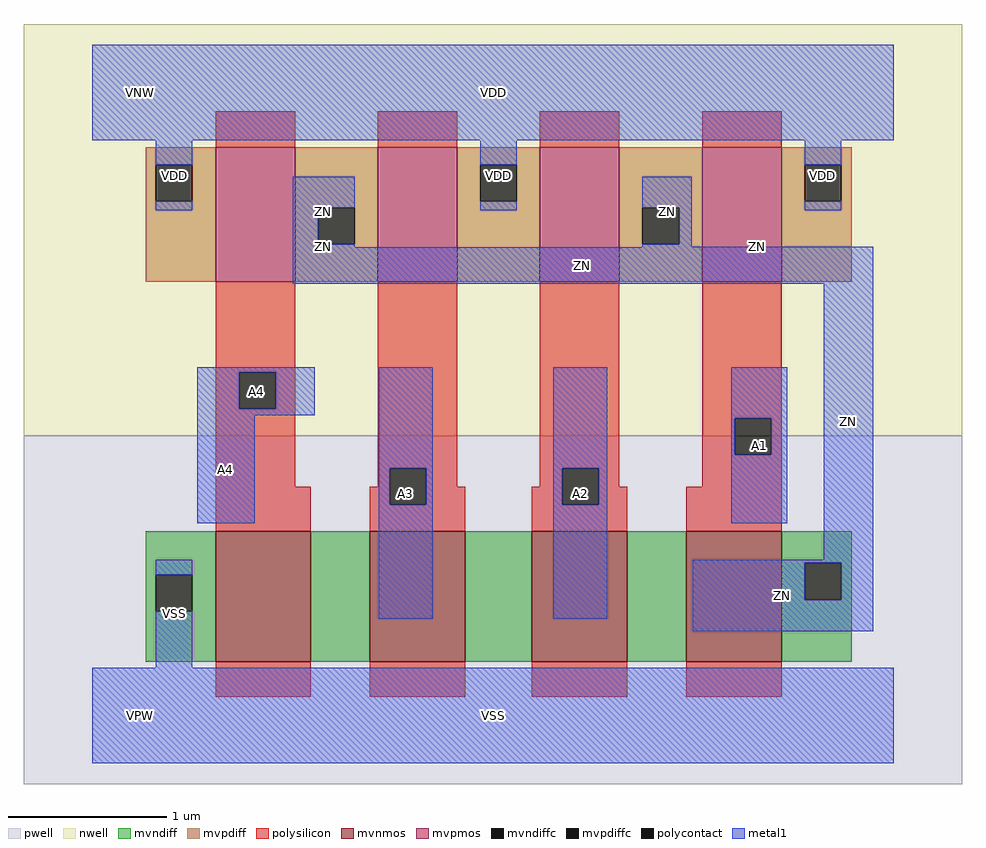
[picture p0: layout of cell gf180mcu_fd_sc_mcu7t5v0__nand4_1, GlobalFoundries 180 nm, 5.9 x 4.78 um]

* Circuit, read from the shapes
.subckt gf180mcu_fd_sc_mcu7t5v0__nand4_1 A1 A2 A3 A4 ZN VDD VNW VPW VSS
XM1 n1 A4 VSS VPW nfet_06v0 w=0.82u l=0.6u
XM2 n2 A3 n1 VPW nfet_06v0 w=0.82u l=0.6u
XM3 n3 A2 n2 VPW nfet_06v0 w=0.82u l=0.6u
XM4 ZN A1 n3 VPW nfet_06v0 w=0.82u l=0.6u
XM5 ZN A4 VDD VNW pfet_06v0 w=0.845u l=0.5u
XM6 VDD A3 ZN VNW pfet_06v0 w=0.845u l=0.5u
XM7 ZN A2 VDD VNW pfet_06v0 w=0.845u l=0.5u
XM8 VDD A1 ZN VNW pfet_06v0 w=0.845u l=0.5u
.ends

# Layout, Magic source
magic
tech gf180mcuD
magscale 1 10
<< nwell >>
rect -86 352 1094 870
<< pwell >>
rect -86 -86 1094 352
<< mvnmos >>
rect 155 68 275 232
rect 349 68 469 232
rect 553 68 673 232
rect 747 68 867 232
<< mvpmos >>
rect 155 546 255 715
rect 359 546 459 715
rect 563 546 663 715
rect 767 546 867 715
<< mvndiff >>
rect 67 177 155 232
rect 67 131 80 177
rect 126 131 155 177
rect 67 68 155 131
rect 275 68 349 232
rect 469 68 553 232
rect 673 68 747 232
rect 867 192 955 232
rect 867 146 896 192
rect 942 146 955 192
rect 867 68 955 146
<< mvpdiff >>
rect 67 693 155 715
rect 67 647 80 693
rect 126 647 155 693
rect 67 546 155 647
rect 255 639 359 715
rect 255 593 284 639
rect 330 593 359 639
rect 255 546 359 593
rect 459 693 563 715
rect 459 647 488 693
rect 534 647 563 693
rect 459 546 563 647
rect 663 639 767 715
rect 663 593 692 639
rect 738 593 767 639
rect 663 546 767 593
rect 867 693 955 715
rect 867 647 896 693
rect 942 647 955 693
rect 867 546 955 647
<< mvndiffc >>
rect 80 131 126 177
rect 896 146 942 192
<< mvpdiffc >>
rect 80 647 126 693
rect 284 593 330 639
rect 488 647 534 693
rect 692 593 738 639
rect 896 647 942 693
<< polysilicon >>
rect 155 715 255 760
rect 359 715 459 760
rect 563 715 663 760
rect 767 715 867 760
rect 155 432 255 546
rect 155 386 185 432
rect 231 386 255 432
rect 155 288 255 386
rect 359 311 459 546
rect 359 288 374 311
rect 155 232 275 288
rect 349 265 374 288
rect 420 288 459 311
rect 563 311 663 546
rect 563 288 591 311
rect 420 265 469 288
rect 349 232 469 265
rect 553 265 591 288
rect 637 288 663 311
rect 767 374 867 546
rect 767 328 808 374
rect 854 328 867 374
rect 767 288 867 328
rect 637 265 673 288
rect 553 232 673 265
rect 747 232 867 288
rect 155 24 275 68
rect 349 24 469 68
rect 553 24 673 68
rect 747 24 867 68
<< polycontact >>
rect 185 386 231 432
rect 374 265 420 311
rect 591 265 637 311
rect 808 328 854 374
<< metal1 >>
rect 0 724 1008 844
rect 80 693 126 724
rect 488 693 534 724
rect 80 636 126 647
rect 252 639 330 678
rect 252 593 284 639
rect 896 693 942 724
rect 488 636 534 647
rect 692 639 754 678
rect 252 589 330 593
rect 738 593 754 639
rect 896 636 942 647
rect 692 590 754 593
rect 692 589 982 590
rect 252 543 982 589
rect 132 432 280 438
rect 132 386 185 432
rect 231 386 280 432
rect 132 378 280 386
rect 132 242 204 378
rect 360 311 428 438
rect 360 265 374 311
rect 420 265 428 311
rect 80 177 126 196
rect 80 60 126 131
rect 360 122 428 265
rect 580 311 648 438
rect 580 265 591 311
rect 637 265 648 311
rect 580 122 648 265
rect 804 374 874 438
rect 804 328 808 374
rect 854 328 874 374
rect 804 242 874 328
rect 920 196 982 543
rect 755 192 982 196
rect 755 146 896 192
rect 942 146 982 192
rect 755 106 982 146
rect 0 -60 1008 60
<< labels >>
flabel metal1 s 360 122 428 438 0 FreeSans 400 0 0 0 A3
port 3 nsew default input
flabel metal1 s 132 378 280 438 0 FreeSans 400 0 0 0 A4
port 4 nsew default input
flabel metal1 s 0 724 1008 844 0 FreeSans 400 0 0 0 VDD
port 6 nsew power bidirectional abutment
flabel metal1 s 80 60 126 196 0 FreeSans 400 0 0 0 VSS
port 9 nsew ground bidirectional abutment
flabel metal1 s 692 590 754 678 0 FreeSans 400 0 0 0 ZN
port 5 nsew default output
flabel metal1 s 804 242 874 438 0 FreeSans 400 0 0 0 A1
port 1 nsew default input
flabel metal1 s 580 122 648 438 0 FreeSans 400 0 0 0 A2
port 2 nsew default input
flabel nwell s 10 734 110 834 0 FreeSans 400 0 0 0 VNW
port 7 nsew power bidirectional
flabel pwell s 10 -50 110 50 0 FreeSans 400 0 0 0 VPW
port 8 nsew ground bidirectional
rlabel metal1 s 132 242 204 378 1 A4
port 4 nsew default input
rlabel metal1 s 252 590 330 678 1 ZN
port 5 nsew default output
rlabel metal1 s 692 589 982 590 1 ZN
port 5 nsew default output
rlabel metal1 s 252 589 330 590 1 ZN
port 5 nsew default output
rlabel metal1 s 252 543 982 589 1 ZN
port 5 nsew default output
rlabel metal1 s 920 196 982 543 1 ZN
port 5 nsew default output
rlabel metal1 s 755 106 982 196 1 ZN
port 5 nsew default output
rlabel metal1 s 896 636 942 724 1 VDD
port 6 nsew power bidirectional abutment
rlabel metal1 s 488 636 534 724 1 VDD
port 6 nsew power bidirectional abutment
rlabel metal1 s 80 636 126 724 1 VDD
port 6 nsew power bidirectional abutment
rlabel metal1 s 0 -60 1008 60 1 VSS
port 9 nsew ground bidirectional abutment
<< properties >>
string FIXED_BBOX 0 0 1008 784
string GDS_END 725934
string GDS_FILE $PDKPATH/libs.ref/gf180mcu_fd_sc_mcu7t5v0/gds/gf180mcu_fd_sc_mcu7t5v0.gds
string GDS_START 722736
string LEFclass core
string LEFsite GF018hv5v_mcu_sc7
string LEFsymmetry X Y
<< end >>
